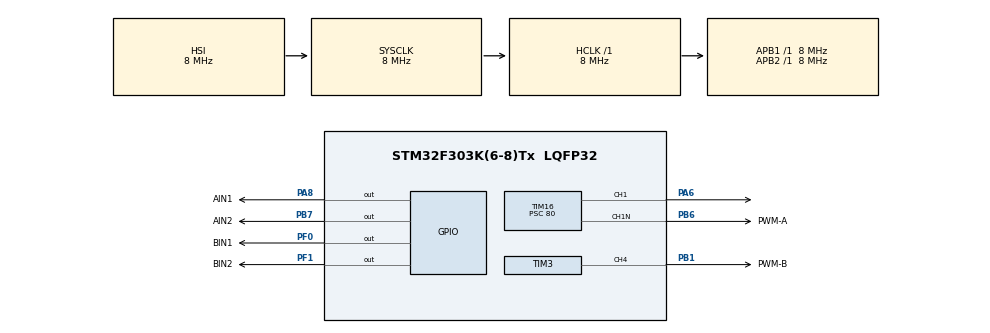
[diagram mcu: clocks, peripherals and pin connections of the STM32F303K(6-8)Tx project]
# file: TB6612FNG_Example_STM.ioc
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Mcu.Family=STM32F3
Mcu.Name=STM32F303K(6-8)Tx
Mcu.Package=LQFP32
NVIC.PriorityGroup=NVIC_PRIORITYGROUP_4
PA6.Signal=S_TIM16_CH1
PA8.GPIO_Label=AIN1
PA8.Signal=GPIO_Output
PB1.GPIO_Label=PWM-B
PB1.Signal=S_TIM3_CH4
PB6.GPIO_Label=PWM-A
PB6.GPIO_Speed=GPIO_SPEED_FREQ_LOW
PB6.Mode=PWM Generation1 CH1 CH1N
PB6.Signal=TIM16_CH1N
PB7.GPIO_Label=AIN2
PB7.Signal=GPIO_Output
PF0\ /\ OSC_IN.GPIO_Label=BIN1
PF0\ /\ OSC_IN.Signal=GPIO_Output
PF1\ /\ OSC_OUT.GPIO_Label=BIN2
PF1\ /\ OSC_OUT.Signal=GPIO_Output
ProjectManager.HeapSize=0x200
ProjectManager.StackSize=0x400
ProjectManager.TargetToolchain=TrueSTUDIO
RCC.AHBFreq_Value=8000000
RCC.APB1Freq_Value=8000000
RCC.APB2Freq_Value=8000000
RCC.CortexFreq_Value=8000000
RCC.HSE_VALUE=8000000
RCC.HSI_VALUE=8000000
RCC.SYSCLKFreq_VALUE=8000000
SH.S_TIM16_CH1.0=TIM16_CH1,PWM Generation1 CH1 CH1N
SH.S_TIM3_CH4.0=TIM3_CH4,PWM Generation4 CH4
TIM16.Channel=TIM_CHANNEL_1
TIM16.Period=100
TIM16.Prescaler=80
TIM16.Pulse=0
TIM3.Channel-PWM\ Generation4\ CH4=TIM_CHANNEL_4
TIM3.Period=100
TIM3.Prescaler=80
VP_TIM16_VS_ClockSourceINT.Mode=Enable_Timer
VP_TIM3_VS_ClockSourceINT.Mode=Internal
board=custom

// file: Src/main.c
/* USER CODE BEGIN Header */
/**
  ******************************************************************************
  * @file           : main.c
  * @brief          : Main program body
  ******************************************************************************
  * @attention
  *
  * <h2><center>&copy; Copyright (c) 2019 STMicroelectronics.
  * All rights reserved.</center></h2>
  *
  * This software component is licensed by ST under BSD 3-Clause license,
  * the "License"; You may not use this file except in compliance with the
  * License. You may obtain a copy of the License at:
  *                        opensource.org/licenses/BSD-3-Clause
  *
  ******************************************************************************
  */
/* USER CODE END Header */

#include "main.h"

TIM_HandleTypeDef htim3;
TIM_HandleTypeDef htim16;

void SystemClock_Config(void);
static void MX_GPIO_Init(void);
static void MX_TIM16_Init(void);
static void MX_TIM3_Init(void);
/* USER CODE BEGIN PFP */
void MotorLeft(short signed int value);
void MotorRigh(short signed int value);
void Motors(short signed int left_value, short signed int right_value);
/* USER CODE END PFP */

/* USER CODE BEGIN 0 */
#define PWM_A htim16
#define PWM_B htim3
/* USER CODE END 0 */

int main(void)
{

  /* MCU Configuration--------------------------------------------------------*/

  /* Reset of all peripherals, Initializes the Flash interface and the Systick. */
  HAL_Init();

  /* Configure the system clock */
  SystemClock_Config();

  /* Initialize all configured peripherals */
  MX_GPIO_Init();
  MX_TIM16_Init();
  MX_TIM3_Init();
  /* USER CODE BEGIN 2 */
  HAL_TIM_PWM_Start(&PWM_A, TIM_CHANNEL_1);
  HAL_TIM_PWM_Start(&PWM_B, TIM_CHANNEL_4);

  // variaveis
  signed short int duty;
  /* USER CODE END 2 */

  /* Infinite loop */
  while (1)
  {

    /* USER CODE BEGIN 3 */
	  /*for(duty=0; duty<=PWM_A.Init.Period; duty+=10)
	  {
		  Motors(duty, -duty);
		  HAL_Delay(1000);
	  }
	  for(; duty>=0; duty-=10)
	  {
		  Motors(-duty, duty);
		  HAL_Delay(1000);
	  }*/
	  for(duty=0; duty<=PWM_B.Init.Period; duty+=10)
	  {
		  Motors(duty, duty);
		  HAL_Delay(1000);
	  }
  }
  /* USER CODE END 3 */
}

void SystemClock_Config(void)
{
  RCC_OscInitTypeDef RCC_OscInitStruct = {0};
  RCC_ClkInitTypeDef RCC_ClkInitStruct = {0};

  /** Initializes the CPU, AHB and APB busses clocks
  */
  RCC_OscInitStruct.OscillatorType = RCC_OSCILLATORTYPE_HSI;
  RCC_OscInitStruct.HSIState = RCC_HSI_ON;
  RCC_OscInitStruct.HSICalibrationValue = RCC_HSICALIBRATION_DEFAULT;
  RCC_OscInitStruct.PLL.PLLState = RCC_PLL_NONE;
  if (HAL_RCC_OscConfig(&RCC_OscInitStruct) != HAL_OK)
  {
    Error_Handler();
  }
  /** Initializes the CPU, AHB and APB busses clocks
  */
  RCC_ClkInitStruct.ClockType = RCC_CLOCKTYPE_HCLK|RCC_CLOCKTYPE_SYSCLK
                              |RCC_CLOCKTYPE_PCLK1|RCC_CLOCKTYPE_PCLK2;
  RCC_ClkInitStruct.SYSCLKSource = RCC_SYSCLKSOURCE_HSI;
  RCC_ClkInitStruct.AHBCLKDivider = RCC_SYSCLK_DIV1;
  RCC_ClkInitStruct.APB1CLKDivider = RCC_HCLK_DIV1;
  RCC_ClkInitStruct.APB2CLKDivider = RCC_HCLK_DIV1;

  if (HAL_RCC_ClockConfig(&RCC_ClkInitStruct, FLASH_LATENCY_0) != HAL_OK)
  {
    Error_Handler();
  }
}

static void MX_TIM3_Init(void)
{

  TIM_ClockConfigTypeDef sClockSourceConfig = {0};
  TIM_MasterConfigTypeDef sMasterConfig = {0};
  TIM_OC_InitTypeDef sConfigOC = {0};

  htim3.Instance = TIM3;
  htim3.Init.Prescaler = 80;
  htim3.Init.CounterMode = TIM_COUNTERMODE_UP;
  htim3.Init.Period = 100;
  htim3.Init.ClockDivision = TIM_CLOCKDIVISION_DIV1;
  htim3.Init.AutoReloadPreload = TIM_AUTORELOAD_PRELOAD_DISABLE;
  if (HAL_TIM_Base_Init(&htim3) != HAL_OK)
  {
    Error_Handler();
  }
  sClockSourceConfig.ClockSource = TIM_CLOCKSOURCE_INTERNAL;
  if (HAL_TIM_ConfigClockSource(&htim3, &sClockSourceConfig) != HAL_OK)
  {
    Error_Handler();
  }
  if (HAL_TIM_PWM_Init(&htim3) != HAL_OK)
  {
    Error_Handler();
  }
  sMasterConfig.MasterOutputTrigger = TIM_TRGO_RESET;
  sMasterConfig.MasterSlaveMode = TIM_MASTERSLAVEMODE_DISABLE;
  if (HAL_TIMEx_MasterConfigSynchronization(&htim3, &sMasterConfig) != HAL_OK)
  {
    Error_Handler();
  }
  sConfigOC.OCMode = TIM_OCMODE_PWM1;
  sConfigOC.Pulse = 0;
  sConfigOC.OCPolarity = TIM_OCPOLARITY_HIGH;
  sConfigOC.OCFastMode = TIM_OCFAST_DISABLE;
  if (HAL_TIM_PWM_ConfigChannel(&htim3, &sConfigOC, TIM_CHANNEL_4) != HAL_OK)
  {
    Error_Handler();
  }
  HAL_TIM_MspPostInit(&htim3);

}

static void MX_TIM16_Init(void)
{

  TIM_OC_InitTypeDef sConfigOC = {0};
  TIM_BreakDeadTimeConfigTypeDef sBreakDeadTimeConfig = {0};

  htim16.Instance = TIM16;
  htim16.Init.Prescaler = 80;
  htim16.Init.CounterMode = TIM_COUNTERMODE_UP;
  htim16.Init.Period = 100;
  htim16.Init.ClockDivision = TIM_CLOCKDIVISION_DIV1;
  htim16.Init.RepetitionCounter = 0;
  htim16.Init.AutoReloadPreload = TIM_AUTORELOAD_PRELOAD_DISABLE;
  if (HAL_TIM_Base_Init(&htim16) != HAL_OK)
  {
    Error_Handler();
  }
  if (HAL_TIM_PWM_Init(&htim16) != HAL_OK)
  {
    Error_Handler();
  }
  sConfigOC.OCMode = TIM_OCMODE_PWM1;
  sConfigOC.Pulse = 0;
  sConfigOC.OCPolarity = TIM_OCPOLARITY_HIGH;
  sConfigOC.OCNPolarity = TIM_OCNPOLARITY_HIGH;
  sConfigOC.OCFastMode = TIM_OCFAST_DISABLE;
  sConfigOC.OCIdleState = TIM_OCIDLESTATE_RESET;
  sConfigOC.OCNIdleState = TIM_OCNIDLESTATE_RESET;
  if (HAL_TIM_PWM_ConfigChannel(&htim16, &sConfigOC, TIM_CHANNEL_1) != HAL_OK)
  {
    Error_Handler();
  }
  sBreakDeadTimeConfig.OffStateRunMode = TIM_OSSR_DISABLE;
  sBreakDeadTimeConfig.OffStateIDLEMode = TIM_OSSI_DISABLE;
  sBreakDeadTimeConfig.LockLevel = TIM_LOCKLEVEL_OFF;
  sBreakDeadTimeConfig.DeadTime = 0;
  sBreakDeadTimeConfig.BreakState = TIM_BREAK_DISABLE;
  sBreakDeadTimeConfig.BreakPolarity = TIM_BREAKPOLARITY_HIGH;
  sBreakDeadTimeConfig.BreakFilter = 0;
  sBreakDeadTimeConfig.AutomaticOutput = TIM_AUTOMATICOUTPUT_DISABLE;
  if (HAL_TIMEx_ConfigBreakDeadTime(&htim16, &sBreakDeadTimeConfig) != HAL_OK)
  {
    Error_Handler();
  }
  HAL_TIM_MspPostInit(&htim16);

}

static void MX_GPIO_Init(void)
{
  GPIO_InitTypeDef GPIO_InitStruct = {0};

  /* GPIO Ports Clock Enable */
  __HAL_RCC_GPIOF_CLK_ENABLE();
  __HAL_RCC_GPIOA_CLK_ENABLE();
  __HAL_RCC_GPIOB_CLK_ENABLE();

  /*Configure GPIO pin Output Level */
  HAL_GPIO_WritePin(GPIOF, BIN1_Pin|BIN2_Pin, GPIO_PIN_RESET);

  /*Configure GPIO pin Output Level */
  HAL_GPIO_WritePin(AIN1_GPIO_Port, AIN1_Pin, GPIO_PIN_RESET);

  /*Configure GPIO pin Output Level */
  HAL_GPIO_WritePin(AIN2_GPIO_Port, AIN2_Pin, GPIO_PIN_RESET);

  /*Configure GPIO pins : BIN1_Pin BIN2_Pin */
  GPIO_InitStruct.Pin = BIN1_Pin|BIN2_Pin;
  GPIO_InitStruct.Mode = GPIO_MODE_OUTPUT_PP;
  GPIO_InitStruct.Pull = GPIO_NOPULL;
  GPIO_InitStruct.Speed = GPIO_SPEED_FREQ_LOW;
  HAL_GPIO_Init(GPIOF, &GPIO_InitStruct);

  /*Configure GPIO pin : AIN1_Pin */
  GPIO_InitStruct.Pin = AIN1_Pin;
  GPIO_InitStruct.Mode = GPIO_MODE_OUTPUT_PP;
  GPIO_InitStruct.Pull = GPIO_NOPULL;
  GPIO_InitStruct.Speed = GPIO_SPEED_FREQ_LOW;
  HAL_GPIO_Init(AIN1_GPIO_Port, &GPIO_InitStruct);

  /*Configure GPIO pin : AIN2_Pin */
  GPIO_InitStruct.Pin = AIN2_Pin;
  GPIO_InitStruct.Mode = GPIO_MODE_OUTPUT_PP;
  GPIO_InitStruct.Pull = GPIO_NOPULL;
  GPIO_InitStruct.Speed = GPIO_SPEED_FREQ_LOW;
  HAL_GPIO_Init(AIN2_GPIO_Port, &GPIO_InitStruct);

}

/* USER CODE BEGIN 4 */
// acionamento da ponte H
void MotorLeft(short signed int value)
{
	if(value >= 0)
	{
		HAL_GPIO_WritePin(GPIOA, AIN1_Pin, GPIO_PIN_SET);
		HAL_GPIO_WritePin(GPIOB, AIN2_Pin, GPIO_PIN_RESET);
	}
	else
	{
		HAL_GPIO_WritePin(GPIOA, AIN1_Pin, GPIO_PIN_RESET);
		HAL_GPIO_WritePin(GPIOB, AIN2_Pin, GPIO_PIN_SET);

		value *= -1;
	}

	PWM_A.Instance->CCR1 = (uint32_t) value;
}

void MotorRigh(short signed int value)
{
	if(value >= 0)
	{
		HAL_GPIO_WritePin(GPIOF, BIN1_Pin, GPIO_PIN_SET);
		HAL_GPIO_WritePin(GPIOF, BIN2_Pin, GPIO_PIN_RESET);
	}
	else
	{
		HAL_GPIO_WritePin(GPIOF, BIN1_Pin, GPIO_PIN_RESET);
		HAL_GPIO_WritePin(GPIOF, BIN2_Pin, GPIO_PIN_SET);

		value *= -1;
	}

	PWM_B.Instance->CCR4 = (uint32_t) value;
}

void Motors(short signed int left_value, short signed int right_value)
{
	MotorLeft(left_value);
	MotorRigh(right_value);
}
/* USER CODE END 4 */

void Error_Handler(void)
{
}

/************************ (C) COPYRIGHT STMicroelectronics *****END OF FILE****/
